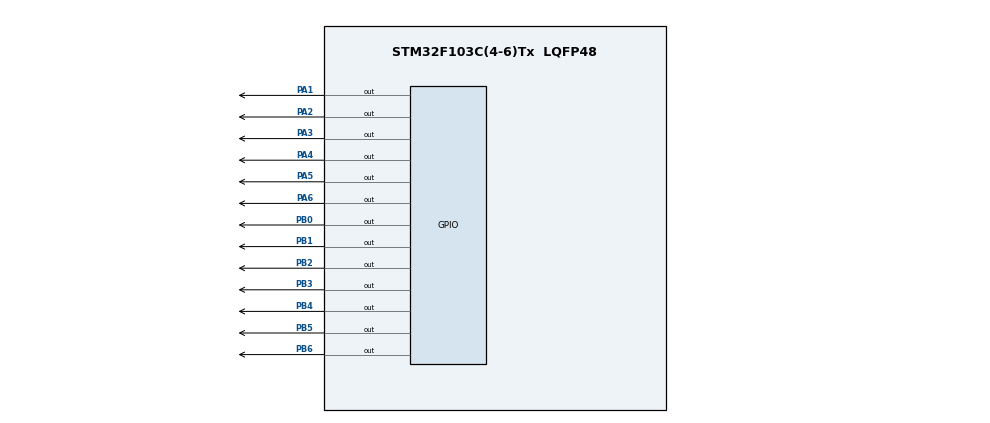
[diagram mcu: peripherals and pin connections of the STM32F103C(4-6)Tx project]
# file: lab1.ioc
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Mcu.Family=STM32F1
Mcu.Name=STM32F103C(4-6)Tx
Mcu.Package=LQFP48
NVIC.PriorityGroup=NVIC_PRIORITYGROUP_4
PA1.Signal=GPIO_Output
PA2.Signal=GPIO_Output
PA3.Signal=GPIO_Output
PA4.Signal=GPIO_Output
PA5.Signal=GPIO_Output
PA6.Signal=GPIO_Output
PB0.Signal=GPIO_Output
PB1.Signal=GPIO_Output
PB2.Signal=GPIO_Output
PB3.Signal=GPIO_Output
PB4.Signal=GPIO_Output
PB5.Signal=GPIO_Output
PB6.Signal=GPIO_Output
ProjectManager.HeapSize=0x200
ProjectManager.StackSize=0x400
ProjectManager.TargetToolchain=STM32CubeIDE
RCC.APB1Freq_Value=8000000
RCC.APB2Freq_Value=8000000
VP_SYS_VS_ND.Mode=No_Debug
board=custom

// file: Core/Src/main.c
/* USER CODE BEGIN Header */
/**
  ******************************************************************************
  * @file           : main.c
  * @brief          : Main program body
  ******************************************************************************
  * @attention
  *
  * <h2><center>&copy; Copyright (c) 2021 STMicroelectronics.
  * All rights reserved.</center></h2>
  *
  * This software component is licensed by ST under BSD 3-Clause license,
  * the "License"; You may not use this file except in compliance with the
  * License. You may obtain a copy of the License at:
  *                        opensource.org/licenses/BSD-3-Clause
  *
  ******************************************************************************
  */
/* USER CODE END Header */
#include "main.h"
#include "led_7.h"

void SystemClock_Config(void);
static void MX_GPIO_Init(void);

int main(void)
{

  /* MCU Configuration--------------------------------------------------------*/

  /* Reset of all peripherals, Initializes the Flash interface and the Systick. */
  HAL_Init();

  /* Configure the system clock */
  SystemClock_Config();

  /* Initialize all configured peripherals */
  MX_GPIO_Init();

  /* Infinite loop */
  /* USER CODE BEGIN WHILE */
  int counter = 0;
  while (1)
  {
    /* USER CODE END WHILE */

    /* USER CODE BEGIN 3 */
		HAL_GPIO_WritePin(LED_GPIO_Port, LED_RED_Pin, 0);
		HAL_GPIO_WritePin(LED_GPIO_Port, LED_GREEN_Pin, 1);
		HAL_GPIO_WritePin(LED_GPIO_Port, LED_YELLOW_Pin, 1);
		while(counter <= 5){
			//if(i > 5) counter = 0;
			if(counter < 3){
				HAL_GPIO_WritePin(LED_GPIO_Port, LED_RED1_Pin, 1);
				HAL_GPIO_WritePin(LED_GPIO_Port, LED_GREEN1_Pin, 0);
				HAL_GPIO_WritePin(LED_GPIO_Port, LED_YELLOW1_Pin, 1);
			}
			else{
				HAL_GPIO_WritePin(LED_GPIO_Port, LED_RED1_Pin, 1);
				HAL_GPIO_WritePin(LED_GPIO_Port, LED_GREEN1_Pin, 1);
				HAL_GPIO_WritePin(LED_GPIO_Port, LED_YELLOW1_Pin, 0);
			}
			update_seven_segment_led_buffer(counter++);
			seven_segment_led_driver();
			HAL_Delay(1000);
		}
		counter = 0;

		HAL_GPIO_WritePin(LED_GPIO_Port, LED_RED1_Pin, 0);
		HAL_GPIO_WritePin(LED_GPIO_Port, LED_GREEN1_Pin, 1);
		HAL_GPIO_WritePin(LED_GPIO_Port, LED_YELLOW1_Pin, 1);

		while(counter <= 5){
			//if(i > 5) counter = 0;
			if(counter < 3){
				HAL_GPIO_WritePin(LED_GPIO_Port, LED_RED_Pin, 1);
				HAL_GPIO_WritePin(LED_GPIO_Port, LED_GREEN_Pin, 0);
				HAL_GPIO_WritePin(LED_GPIO_Port, LED_YELLOW_Pin, 1);
			}
			else{
				HAL_GPIO_WritePin(LED_GPIO_Port, LED_RED_Pin, 1);
				HAL_GPIO_WritePin(LED_GPIO_Port, LED_GREEN_Pin, 1);
				HAL_GPIO_WritePin(LED_GPIO_Port, LED_YELLOW_Pin, 0);
			}
			if(counter >= 3){
				counter = counter-3;
			}
			update_seven_segment_led_buffer(counter++);
			seven_segment_led_driver();
			HAL_Delay(1000);
		}
// //  Ex4
//	   test_seven_segment_led(counter%10);
//	   counter++;
  }
  /* USER CODE END 3 */
}

void SystemClock_Config(void)
{
  RCC_OscInitTypeDef RCC_OscInitStruct = {0};
  RCC_ClkInitTypeDef RCC_ClkInitStruct = {0};

  /** Initializes the RCC Oscillators according to the specified parameters
  * in the RCC_OscInitTypeDef structure.
  */
  RCC_OscInitStruct.OscillatorType = RCC_OSCILLATORTYPE_HSI;
  RCC_OscInitStruct.HSIState = RCC_HSI_ON;
  RCC_OscInitStruct.HSICalibrationValue = RCC_HSICALIBRATION_DEFAULT;
  RCC_OscInitStruct.PLL.PLLState = RCC_PLL_NONE;
  if (HAL_RCC_OscConfig(&RCC_OscInitStruct) != HAL_OK)
  {
    Error_Handler();
  }
  /** Initializes the CPU, AHB and APB buses clocks
  */
  RCC_ClkInitStruct.ClockType = RCC_CLOCKTYPE_HCLK|RCC_CLOCKTYPE_SYSCLK
                              |RCC_CLOCKTYPE_PCLK1|RCC_CLOCKTYPE_PCLK2;
  RCC_ClkInitStruct.SYSCLKSource = RCC_SYSCLKSOURCE_HSI;
  RCC_ClkInitStruct.AHBCLKDivider = RCC_SYSCLK_DIV1;
  RCC_ClkInitStruct.APB1CLKDivider = RCC_HCLK_DIV1;
  RCC_ClkInitStruct.APB2CLKDivider = RCC_HCLK_DIV1;

  if (HAL_RCC_ClockConfig(&RCC_ClkInitStruct, FLASH_LATENCY_0) != HAL_OK)
  {
    Error_Handler();
  }
}

static void MX_GPIO_Init(void)
{
  GPIO_InitTypeDef GPIO_InitStruct = {0};

  /* GPIO Ports Clock Enable */
  __HAL_RCC_GPIOA_CLK_ENABLE();
  __HAL_RCC_GPIOB_CLK_ENABLE();

  /*Configure GPIO pin Output Level */
  HAL_GPIO_WritePin(GPIOA, GPIO_PIN_1|GPIO_PIN_2|GPIO_PIN_3|GPIO_PIN_4
                          |GPIO_PIN_5|GPIO_PIN_6, GPIO_PIN_RESET);

  /*Configure GPIO pin Output Level */
  HAL_GPIO_WritePin(GPIOB, GPIO_PIN_0|GPIO_PIN_1|GPIO_PIN_2|GPIO_PIN_3
                          |GPIO_PIN_4|GPIO_PIN_5|GPIO_PIN_6, GPIO_PIN_RESET);

  /*Configure GPIO pins : PA1 PA2 PA3 PA4
                           PA5 PA6 */
  GPIO_InitStruct.Pin = GPIO_PIN_1|GPIO_PIN_2|GPIO_PIN_3|GPIO_PIN_4
                          |GPIO_PIN_5|GPIO_PIN_6;
  GPIO_InitStruct.Mode = GPIO_MODE_OUTPUT_PP;
  GPIO_InitStruct.Pull = GPIO_NOPULL;
  GPIO_InitStruct.Speed = GPIO_SPEED_FREQ_LOW;
  HAL_GPIO_Init(GPIOA, &GPIO_InitStruct);

  /*Configure GPIO pins : PB0 PB1 PB2 PB3
                           PB4 PB5 PB6 */
  GPIO_InitStruct.Pin = GPIO_PIN_0|GPIO_PIN_1|GPIO_PIN_2|GPIO_PIN_3
                          |GPIO_PIN_4|GPIO_PIN_5|GPIO_PIN_6;
  GPIO_InitStruct.Mode = GPIO_MODE_OUTPUT_PP;
  GPIO_InitStruct.Pull = GPIO_NOPULL;
  GPIO_InitStruct.Speed = GPIO_SPEED_FREQ_LOW;
  HAL_GPIO_Init(GPIOB, &GPIO_InitStruct);

}

void Error_Handler(void)
{
  __disable_irq();
  while (1)
  {
  }
}

/************************ (C) COPYRIGHT STMicroelectronics *****END OF FILE****/
